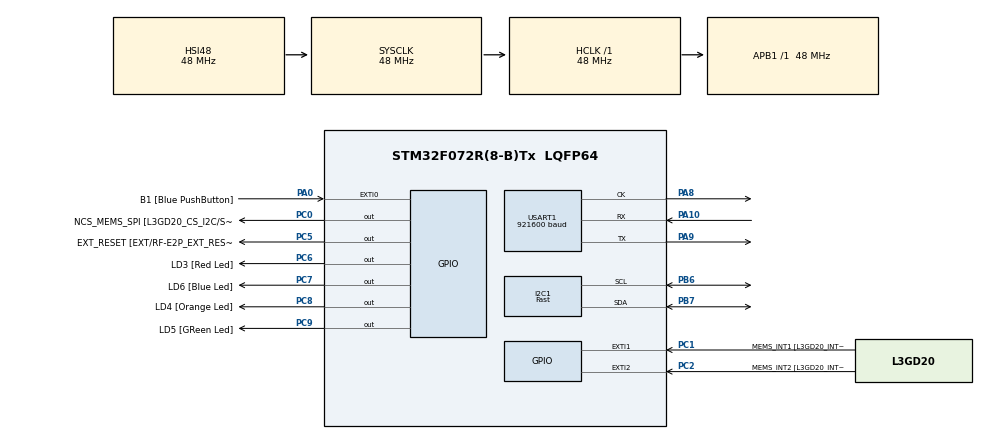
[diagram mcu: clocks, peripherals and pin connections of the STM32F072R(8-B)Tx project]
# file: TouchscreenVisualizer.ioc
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I2C1.I2C_Speed_Mode=I2C_Fast
I2C1.Timing=0x0000020B
Mcu.Family=STM32F0
Mcu.Name=STM32F072R(8-B)Tx
Mcu.Package=LQFP64
PA0.GPIO_Label=B1 [Blue PushButton]
PA0.GPIO_ModeDefaultEXTI=GPIO_MODE_EVT_RISING
PA0.Signal=GPXTI0
PA10.Mode=Synchronous
PA10.Signal=USART1_RX
PA11.GPIO_Label=USBF4_DM
PA11.Signal=USB_DM
PA12.GPIO_Label=USBF4_DP
PA12.Signal=USB_DP
PA13.GPIO_Label=SWDIO
PA13.Signal=SYS_SWDIO
PA14.GPIO_Label=SWCLK
PA14.Signal=SYS_SWCLK
PA2.Signal=TSC_G1_IO3
PA3.Signal=TSC_G1_IO4
PA6.Signal=TSC_G2_IO3
PA7.Signal=TSC_G2_IO4
PA8.Mode=Synchronous
PA8.Signal=USART1_CK
PA9.Mode=Synchronous
PA9.Signal=USART1_TX
PB0.Signal=TSC_G3_IO2
PB1.Signal=TSC_G3_IO3
PB10.GPIO_Label=I2C2_SCL[EXT/RF-E2P_SCL]
PB10.Signal=I2C2_SCL
PB11.GPIO_Label=I2C2_SDA[EXT/RF-E2P_SDA]
PB11.Signal=I2C2_SDA
PB13.GPIO_Label=SPI2_SCK [L3GD20_SCL/SPC]
PB13.Signal=SPI2_SCK
PB14.GPIO_Label=SPI2_MISO [L3GD20_SDO]
PB14.Signal=SPI2_MISO
PB15.GPIO_Label=SPI2_MOSI [L3GD20_SDA/SDI]
PB15.Signal=SPI2_MOSI
PB6.Mode=I2C
PB6.Signal=I2C1_SCL
PB7.Mode=I2C
PB7.Signal=I2C1_SDA
PC0.GPIO_Label=NCS_MEMS_SPI [L3GD20_CS_I2C/SPI]
PC0.Signal=GPIO_Output
PC1.GPIO_Label=MEMS_INT1 [L3GD20_INT1]
PC1.GPIO_ModeDefaultEXTI=GPIO_MODE_EVT_RISING
PC1.Signal=GPXTI1
PC2.GPIO_Label=MEMS_INT2 [L3GD20_INT2]
PC2.GPIO_ModeDefaultEXTI=GPIO_MODE_EVT_RISING
PC2.Signal=GPXTI2
PC5.GPIO_Label=EXT_RESET [EXT/RF-E2P_EXT_RESET]
PC5.Signal=GPIO_Output
PC6.GPIO_Label=LD3 [Red Led]
PC6.Signal=GPIO_Output
PC7.GPIO_Label=LD6 [Blue Led]
PC7.Signal=GPIO_Output
PC8.GPIO_Label=LD4 [Orange Led]
PC8.Signal=GPIO_Output
PC9.GPIO_Label=LD5 [GReen Led]
PC9.Signal=GPIO_Output
ProjectManager.HeapSize=0x200
ProjectManager.StackSize=0x400
ProjectManager.TargetToolchain=MDK-ARM V5.32
RCC.AHBFreq_Value=48000000
RCC.APB1Freq_Value=48000000
RCC.APB1TimFreq_Value=48000000
RCC.HCLKFreq_Value=48000000
RCC.PLLMUL=RCC_PLL_MUL6
RCC.SYSCLKFreq_VALUE=48000000
RCC.SYSCLKSource=RCC_SYSCLKSOURCE_HSI48
USART1.BaudRate=921600
USART1.VirtualMode-Synchronous=VM_SYNC
board=STM32F072B-DISCO

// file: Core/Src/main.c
/* USER CODE BEGIN Header */
/**
 ******************************************************************************
 * @file           : main.c
 * @brief          : Main program body
 ******************************************************************************
 * @attention
 *
 * Copyright (c) 2022 STMicroelectronics.
 * All rights reserved.
 *
 * This software is licensed under terms that can be found in the LICENSE file
 * in the root directory of this software component.
 * If no LICENSE file comes with this software, it is provided AS-IS.
 *
 ******************************************************************************
 */
/* USER CODE END Header */
#include "main.h"

/* USER CODE BEGIN Includes */

#include "get_set_bits.h"
#include <math.h>
#include <stdint.h>
#include <stdio.h>
#include <string.h>

/* USER CODE END Includes */

/* USER CODE BEGIN PD */

#define HAL_timeout_5s 5000
#define I2C_GT9110_address (uint16_t)0x5D

/* USER CODE END PD */

I2C_HandleTypeDef hi2c1;

USART_HandleTypeDef husart1;

void SystemClock_Config(void);
static void MX_GPIO_Init(void);
static void MX_USART1_Init(void);
static void MX_I2C1_Init(void);

/* USER CODE BEGIN 0 */

enum usart_line_ending { NONE, LF, CR_LF };

void usart_transmit_string(char *string, enum usart_line_ending line_ending) {
    const char *line_ending_string;
    switch (line_ending) {
        case NONE:
            line_ending_string = "";
            break;
        case LF:
            line_ending_string = "\n";
            break;
        case CR_LF:
            line_ending_string = "\r\n";
            break;
    }

    char formatted_string[strlen((const char *)string) + 3];
    snprintf(formatted_string, sizeof(formatted_string), "%s%s", string, line_ending_string);
    if (HAL_USART_Transmit(&husart1, (uint8_t *)formatted_string, strlen((const char *)formatted_string),
                           HAL_timeout_5s) != HAL_OK) {
        Error_Handler();
    }
}

void i2c_write_register_byte(uint16_t slave_address, uint16_t register_address, uint8_t register_data) {
    uint16_t slave_write_address = (slave_address << 1) | 0x00;
    uint8_t register_byte_write_data[3] = {(register_address >> 8) & 0xFF, register_address & 0xFF, register_data};
    if (HAL_I2C_Master_Transmit(&hi2c1, slave_write_address, register_byte_write_data, sizeof(register_byte_write_data),
                                HAL_timeout_5s) != HAL_OK) {
        Error_Handler();
    }
}

void i2c_write_register_bytes(uint16_t slave_address, uint16_t register_address, uint8_t *register_data,
                              uint16_t register_data_length) {
    uint16_t slave_write_address = (slave_address << 1) | 0x00;
    uint8_t register_address_data[2] = {(register_address >> 8) & 0xFF, register_address & 0xFF};

    uint8_t register_write_data[sizeof(register_address_data) + register_data_length];
    memcpy(register_write_data, register_address_data, sizeof(register_address_data));
    memcpy(register_write_data + sizeof(register_address_data), register_data, register_data_length);

    if (HAL_I2C_Master_Transmit(&hi2c1, slave_write_address, register_write_data, sizeof(register_write_data),
                                HAL_timeout_5s) != HAL_OK) {
        Error_Handler();
    }
}

uint8_t i2c_read_register_byte(uint16_t slave_address, uint16_t register_address) {
    uint16_t slave_write_address = (slave_address << 1) | 0x00;
    uint8_t register_byte_write_data[2] = {(register_address >> 8) & 0xFF, register_address & 0xFF};
    if (HAL_I2C_Master_Transmit(&hi2c1, slave_write_address, register_byte_write_data, sizeof(register_byte_write_data),
                                HAL_timeout_5s) != HAL_OK) {
        Error_Handler();
    }

    uint16_t slave_read_address = (slave_address << 1) | 0x01;
    uint8_t received_data_byte;
    if (HAL_I2C_Master_Receive(&hi2c1, slave_read_address, &received_data_byte, 1, HAL_timeout_5s) != HAL_OK) {
        Error_Handler();
    }
    return received_data_byte;
}

void i2c_read_register_bytes(uint16_t slave_address, uint16_t register_address, uint8_t *register_data,
                             uint16_t register_data_length) {
    uint16_t slave_write_address = (slave_address << 1) | 0x00;
    uint8_t register_byte_write_data[2] = {(register_address >> 8) & 0xFF, register_address & 0xFF};
    if (HAL_I2C_Master_Transmit(&hi2c1, slave_write_address, register_byte_write_data, sizeof(register_byte_write_data),
                                HAL_timeout_5s) != HAL_OK) {
        Error_Handler();
    }

    uint16_t slave_read_address = (slave_address << 1) | 0x01;
    if (HAL_I2C_Master_Receive(&hi2c1, slave_read_address, register_data, register_data_length, HAL_timeout_5s) !=
        HAL_OK) {
        Error_Handler();
    }
}

void serialize_touchscreen_coordinate_data(uint8_t number_of_touches, uint8_t *touchscreen_coordinate_data) {
    usart_transmit_string("t,", NONE);
    for (uint8_t touch_index = 0; touch_index < 10; touch_index++) {
        uint8_t *touch_coordinate_data = touchscreen_coordinate_data + (touch_index * 8);
        uint8_t id = touch_coordinate_data[0];
        uint16_t x = (touch_coordinate_data[2] << 8) | touch_coordinate_data[1];
        uint16_t y = (touch_coordinate_data[4] << 8) | touch_coordinate_data[3];
        uint16_t size = (touch_coordinate_data[6] << 8) | touch_coordinate_data[5];

        // Zero out touch data when the touch index is greater than the number of touches
        if (touch_index + 1 > number_of_touches) {
            x = 0;
            y = 0;
            size = 0;
        }

        char formatted_touch_data[100];
        snprintf(formatted_touch_data, sizeof(formatted_touch_data), "%d,%d,%d,%d,%d%s", touch_index, id, x, y, size,
                 touch_index == 9 ? "" : ",");
        usart_transmit_string(formatted_touch_data, NONE);
    }
    usart_transmit_string("", CR_LF);
}

void gt9110_poll_and_serialize_touchscreen_data() {
    // Send touchscreen configuration (e.g. the X/Y resolution)
    uint8_t touchscreen_resolution_data[4];
    i2c_read_register_bytes(I2C_GT9110_address, 0x8146, touchscreen_resolution_data,
                            sizeof(touchscreen_resolution_data));
    uint16_t x_resolution = (touchscreen_resolution_data[1] << 8) | touchscreen_resolution_data[0];
    uint16_t y_resolution = (touchscreen_resolution_data[3] << 8) | touchscreen_resolution_data[2];
    char formatted_ts_config_data[50];
    snprintf(formatted_ts_config_data, sizeof(formatted_ts_config_data), "c,%d,%d", x_resolution, y_resolution);
    usart_transmit_string(formatted_ts_config_data, CR_LF);

    // Continuously send touchscreen touch data
    uint8_t touchscreen_coordinate_data[8 * 10] = {0}; // 10 8-byte touch data
    while (1) {
        // Wait until touchscreen data is ready to be read
        uint8_t coordinate_status_register = 0;
        uint8_t buffer_ready = 0;
        do {
            coordinate_status_register = i2c_read_register_byte(I2C_GT9110_address, 0x814E);
            buffer_ready = get_bit((uint32_t *)&coordinate_status_register, 7);
        } while (!buffer_ready);

        // Reset buffer status to trigger another touchscreen sample
        i2c_write_register_byte(I2C_GT9110_address, 0x814E, 0);

        // Read and send all coordinate data
        uint8_t number_of_touches = get_bits((uint32_t *)&coordinate_status_register, 3, 0);
        i2c_read_register_bytes(I2C_GT9110_address, 0x814F, touchscreen_coordinate_data,
                                sizeof(touchscreen_coordinate_data));
        serialize_touchscreen_coordinate_data(number_of_touches, touchscreen_coordinate_data);
    }
}

/* USER CODE END 0 */

int main(void) {

    /* MCU Configuration--------------------------------------------------------*/

    /* Reset of all peripherals, Initializes the Flash interface and the Systick. */
    HAL_Init();

    /* Configure the system clock */
    SystemClock_Config();

    /* Initialize all configured peripherals */
    MX_GPIO_Init();
    MX_USART1_Init();
    MX_I2C1_Init();
    /* USER CODE BEGIN 2 */

    gt9110_poll_and_serialize_touchscreen_data();

    /* USER CODE END 2 */

    /* Infinite loop */
    while (1) {

    }
}

void SystemClock_Config(void) {
    RCC_OscInitTypeDef RCC_OscInitStruct = {0};
    RCC_ClkInitTypeDef RCC_ClkInitStruct = {0};
    RCC_PeriphCLKInitTypeDef PeriphClkInit = {0};

    /** Initializes the RCC Oscillators according to the specified parameters
     * in the RCC_OscInitTypeDef structure.
     */
    RCC_OscInitStruct.OscillatorType = RCC_OSCILLATORTYPE_HSI | RCC_OSCILLATORTYPE_HSI48;
    RCC_OscInitStruct.HSIState = RCC_HSI_ON;
    RCC_OscInitStruct.HSI48State = RCC_HSI48_ON;
    RCC_OscInitStruct.HSICalibrationValue = RCC_HSICALIBRATION_DEFAULT;
    RCC_OscInitStruct.PLL.PLLState = RCC_PLL_NONE;
    if (HAL_RCC_OscConfig(&RCC_OscInitStruct) != HAL_OK) {
        Error_Handler();
    }

    /** Initializes the CPU, AHB and APB buses clocks
     */
    RCC_ClkInitStruct.ClockType = RCC_CLOCKTYPE_HCLK | RCC_CLOCKTYPE_SYSCLK | RCC_CLOCKTYPE_PCLK1;
    RCC_ClkInitStruct.SYSCLKSource = RCC_SYSCLKSOURCE_HSI48;
    RCC_ClkInitStruct.AHBCLKDivider = RCC_SYSCLK_DIV1;
    RCC_ClkInitStruct.APB1CLKDivider = RCC_HCLK_DIV1;

    if (HAL_RCC_ClockConfig(&RCC_ClkInitStruct, FLASH_LATENCY_1) != HAL_OK) {
        Error_Handler();
    }
    PeriphClkInit.PeriphClockSelection = RCC_PERIPHCLK_USART1 | RCC_PERIPHCLK_I2C1;
    PeriphClkInit.Usart1ClockSelection = RCC_USART1CLKSOURCE_PCLK1;
    PeriphClkInit.I2c1ClockSelection = RCC_I2C1CLKSOURCE_HSI;
    if (HAL_RCCEx_PeriphCLKConfig(&PeriphClkInit) != HAL_OK) {
        Error_Handler();
    }
}

static void MX_I2C1_Init(void) {

    hi2c1.Instance = I2C1;
    hi2c1.Init.Timing = 0x0000020B;
    hi2c1.Init.OwnAddress1 = 0;
    hi2c1.Init.AddressingMode = I2C_ADDRESSINGMODE_7BIT;
    hi2c1.Init.DualAddressMode = I2C_DUALADDRESS_DISABLE;
    hi2c1.Init.OwnAddress2 = 0;
    hi2c1.Init.OwnAddress2Masks = I2C_OA2_NOMASK;
    hi2c1.Init.GeneralCallMode = I2C_GENERALCALL_DISABLE;
    hi2c1.Init.NoStretchMode = I2C_NOSTRETCH_DISABLE;
    if (HAL_I2C_Init(&hi2c1) != HAL_OK) {
        Error_Handler();
    }

    /** Configure Analogue filter
     */
    if (HAL_I2CEx_ConfigAnalogFilter(&hi2c1, I2C_ANALOGFILTER_ENABLE) != HAL_OK) {
        Error_Handler();
    }

    /** Configure Digital filter
     */
    if (HAL_I2CEx_ConfigDigitalFilter(&hi2c1, 0) != HAL_OK) {
        Error_Handler();
    }
}

static void MX_USART1_Init(void) {

    husart1.Instance = USART1;
    husart1.Init.BaudRate = 921600;
    husart1.Init.WordLength = USART_WORDLENGTH_8B;
    husart1.Init.StopBits = USART_STOPBITS_1;
    husart1.Init.Parity = USART_PARITY_NONE;
    husart1.Init.Mode = USART_MODE_TX_RX;
    husart1.Init.CLKPolarity = USART_POLARITY_LOW;
    husart1.Init.CLKPhase = USART_PHASE_1EDGE;
    husart1.Init.CLKLastBit = USART_LASTBIT_DISABLE;
    if (HAL_USART_Init(&husart1) != HAL_OK) {
        Error_Handler();
    }
}

static void MX_GPIO_Init(void) {
    GPIO_InitTypeDef GPIO_InitStruct = {0};

    /* GPIO Ports Clock Enable */
    __HAL_RCC_GPIOC_CLK_ENABLE();
    __HAL_RCC_GPIOA_CLK_ENABLE();
    __HAL_RCC_GPIOB_CLK_ENABLE();

    /*Configure GPIO pin Output Level */
    HAL_GPIO_WritePin(GPIOC, NCS_MEMS_SPI_Pin | EXT_RESET_Pin | LD3_Pin | LD6_Pin | LD4_Pin | LD5_Pin, GPIO_PIN_RESET);

    /*Configure GPIO pins : NCS_MEMS_SPI_Pin EXT_RESET_Pin LD3_Pin LD6_Pin
                             LD4_Pin LD5_Pin */
    GPIO_InitStruct.Pin = NCS_MEMS_SPI_Pin | EXT_RESET_Pin | LD3_Pin | LD6_Pin | LD4_Pin | LD5_Pin;
    GPIO_InitStruct.Mode = GPIO_MODE_OUTPUT_PP;
    GPIO_InitStruct.Pull = GPIO_NOPULL;
    GPIO_InitStruct.Speed = GPIO_SPEED_FREQ_LOW;
    HAL_GPIO_Init(GPIOC, &GPIO_InitStruct);

    /*Configure GPIO pins : MEMS_INT1_Pin MEMS_INT2_Pin */
    GPIO_InitStruct.Pin = MEMS_INT1_Pin | MEMS_INT2_Pin;
    GPIO_InitStruct.Mode = GPIO_MODE_EVT_RISING;
    GPIO_InitStruct.Pull = GPIO_NOPULL;
    HAL_GPIO_Init(GPIOC, &GPIO_InitStruct);

    /*Configure GPIO pin : B1_Pin */
    GPIO_InitStruct.Pin = B1_Pin;
    GPIO_InitStruct.Mode = GPIO_MODE_EVT_RISING;
    GPIO_InitStruct.Pull = GPIO_NOPULL;
    HAL_GPIO_Init(B1_GPIO_Port, &GPIO_InitStruct);

    /*Configure GPIO pins : PA2 PA3 PA6 PA7 */
    GPIO_InitStruct.Pin = GPIO_PIN_2 | GPIO_PIN_3 | GPIO_PIN_6 | GPIO_PIN_7;
    GPIO_InitStruct.Mode = GPIO_MODE_AF_PP;
    GPIO_InitStruct.Pull = GPIO_NOPULL;
    GPIO_InitStruct.Speed = GPIO_SPEED_FREQ_LOW;
    GPIO_InitStruct.Alternate = GPIO_AF3_TSC;
    HAL_GPIO_Init(GPIOA, &GPIO_InitStruct);

    /*Configure GPIO pins : PB0 PB1 */
    GPIO_InitStruct.Pin = GPIO_PIN_0 | GPIO_PIN_1;
    GPIO_InitStruct.Mode = GPIO_MODE_AF_PP;
    GPIO_InitStruct.Pull = GPIO_NOPULL;
    GPIO_InitStruct.Speed = GPIO_SPEED_FREQ_LOW;
    GPIO_InitStruct.Alternate = GPIO_AF3_TSC;
    HAL_GPIO_Init(GPIOB, &GPIO_InitStruct);

    /*Configure GPIO pins : I2C2_SCL_Pin I2C2_SDA_Pin */
    GPIO_InitStruct.Pin = I2C2_SCL_Pin | I2C2_SDA_Pin;
    GPIO_InitStruct.Mode = GPIO_MODE_AF_OD;
    GPIO_InitStruct.Pull = GPIO_NOPULL;
    GPIO_InitStruct.Speed = GPIO_SPEED_FREQ_HIGH;
    GPIO_InitStruct.Alternate = GPIO_AF1_I2C2;
    HAL_GPIO_Init(GPIOB, &GPIO_InitStruct);

    /*Configure GPIO pins : SPI2_SCK_Pin SPI2_MISO_Pin SPI2_MOSI_Pin */
    GPIO_InitStruct.Pin = SPI2_SCK_Pin | SPI2_MISO_Pin | SPI2_MOSI_Pin;
    GPIO_InitStruct.Mode = GPIO_MODE_AF_PP;
    GPIO_InitStruct.Pull = GPIO_NOPULL;
    GPIO_InitStruct.Speed = GPIO_SPEED_FREQ_HIGH;
    GPIO_InitStruct.Alternate = GPIO_AF0_SPI2;
    HAL_GPIO_Init(GPIOB, &GPIO_InitStruct);
}

void Error_Handler(void) {
    /* USER CODE BEGIN Error_Handler_Debug */
    /* User can add his own implementation to report the HAL error return state */
    //__disable_irq();
    while (1) {
        HAL_GPIO_TogglePin(GPIOC, LD3_Pin);
        HAL_Delay(250);
    }
    /* USER CODE END Error_Handler_Debug */
}
